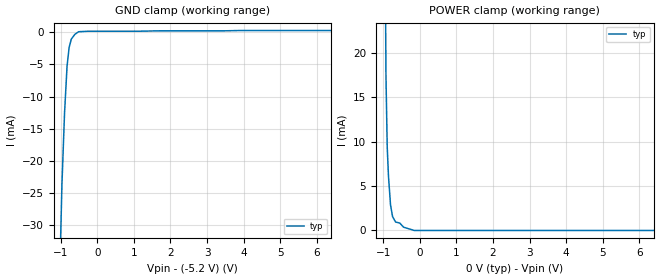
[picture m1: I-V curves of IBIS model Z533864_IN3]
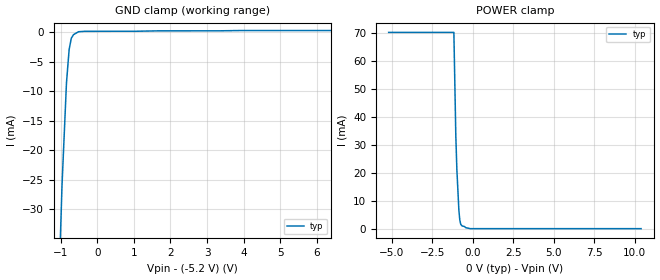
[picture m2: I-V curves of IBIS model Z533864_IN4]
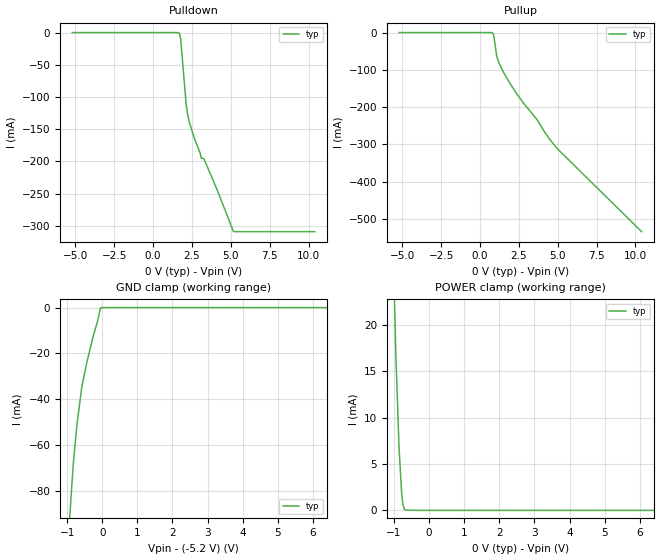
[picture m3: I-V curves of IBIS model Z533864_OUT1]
| YOU ARE ONLY AUTHORIZED TO USE THIS SOFTWARE
| ACCORDING TO LICENSOR'S LICENSE RESTRICTIONS.
[IBIS Ver] 3.1
[File Name] mc100el13dw_-52.ibs
[File Rev] 2.0
[Source] Measured and created by ICX Technology
[Date] Friday 7/14/00 9:07:48 AM
[Copyright]
| (C) COPYRIGHT 1993-2000
| MENTOR GRAPHICS CORPORATION
| ICX STANDARD LIBRARY, ICX PROJECT MODELING,
| ICX CUSTOM MODELING, ICX VENDOR MODEL
| ALL RIGHTS RESERVED.
| THE FOLLOWING ARE TRADEMARKS OR SERVICE MARKS OF
| MENTOR GRAPHICS CORPORATION:ICX (R), ICX STANDARD
| LIBRARY(R), ICX PROJECT MODELING(R), ICX CUSTOM
| MODELING(R), qualityIBIS(TM), MODELVIEWER(TM),
| AND MODELEDITOR(TM)
| ALL COPIES OF SOFTWARE, INCLUDING BUT NOT LIMITED TO
| ANY MODIFICATIONS, ENHANCEMENTS OR DERIVATIVE WORKS,
| MUST CONTAIN ALL MENTOR GRAPHICS CORPORATION'S
| NOTICES AND LEGENDS, INCLUDING THOSE EMBEDDED IN
| SOFTWARE AND THOSE AFFIXED TO SOFTWARE MEDIUM
| AND CONTAINER, AS RECEIVED FROM MENTOR GRAPHICS
| CORPORATION.
|  ZAP Model Builder 2.7
[Component] MC100EL13DW_-52
[Manufacturer] OnSemiconductor
[Package]
| variable   typ   min   max
R_pkg  .158ohms NA NA
L_pkg  3.37nH NA NA
C_pkg  .4pF NA NA
[Pin] signal_name  model_name  R_pin  L_pin C_pin
1 _Q0A Z533864_OUT1 .166 4.25n .44p
2 Q0A Z533864_OUT2 .162 3.8n .42p
3 VCC POWER .158 3.36n .4p
4 CLKA Z533864_IN3 .154 2.93n .38p
5 _CLKA Z533864_IN4 .15 2.51n .36p
6 CLKB Z533864_IN3 .15 2.51n .36p
7 _CLKB Z533864_IN4 .154 2.93n .38p
8 VCC POWER .158 3.36n .4p
9 _Q0B Z533864_OUT5 .162 3.8n .42p
10 Q0B Z533864_OUT6 .166 4.25n .44p
11 VEE GND .166 4.25n .44p
12 _Q1B Z533864_OUT5 .162 3.8n .42p
13 Q1B Z533864_OUT6 .158 3.36n .4p
14 _Q2B Z533864_OUT5 .154 2.93n .38p
15 Q2B Z533864_OUT6 .15 2.51n .36p
16 VCC POWER .15 2.51n .36p
17 _Q2A Z533864_OUT1 .154 2.93n .38p
18 Q2A Z533864_OUT2 .158 3.36n .4p
19 _Q1A Z533864_OUT1 .162 3.8n .42p
20 Q1A Z533864_OUT2 .166 4.25n .44p
| Models and submodels in the file (6): Z533864_IN3 (Input_ECL), Z533864_IN4 (Input_ECL), Z533864_OUT1 (Output_ECL), Z533864_OUT2 (Output_ECL), Z533864_OUT5 (Output_ECL), Z533864_OUT6 (Output_ECL)
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| (C) COPYRIGHT 1993-2000
| MENTOR GRAPHICS CORPORATION
| ICX STANDARD LIBRARY, ICX PROJECT MODELING,
| ICX CUSTOM MODELING, ICX VENDOR MODEL
| ALL RIGHTS RESERVED.
| THE FOLLOWING ARE TRADEMARKS OR SERVICE MARKS OF
| MENTOR GRAPHICS CORPORATION:ICX (R), ICX STANDARD
| LIBRARY(R), ICX PROJECT MODELING(R), ICX CUSTOM
| MODELING(R), qualityIBIS(TM), MODELVIEWER(TM),
| AND MODELEDITOR(TM)
| ALL COPIES OF SOFTWARE, INCLUDING BUT NOT LIMITED TO
| ANY MODIFICATIONS, ENHANCEMENTS OR DERIVATIVE WORKS,
| MUST CONTAIN ALL MENTOR GRAPHICS CORPORATION'S
| NOTICES AND LEGENDS, INCLUDING THOSE EMBEDDED IN
| SOFTWARE AND THOSE AFFIXED TO SOFTWARE MEDIUM
| AND CONTAINER, AS RECEIVED FROM MENTOR GRAPHICS
| CORPORATION.
| Model Application Version 1.89 2/18/99.
[Model] Z533864_IN3
Model_type Input_ECL
Vinl = -1.475V
Vinh = -1.165V
C_comp 4.000pF NA NA
| variable typ   min   max
[Voltage Range] -5.200V NA NA
[GND Clamp Reference] -5.200V NA NA
[POWER Clamp Reference] 0.000V NA NA
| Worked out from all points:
|   GND clamp passes 1 mA (typ) near -0.70 V on its own axis
|   POWER clamp passes 1 mA (typ) near -0.67 V on its own axis
[GND Clamp]
-5.2V     -131.4mA   NA         NA
-1.222V   -82.1mA    NA         NA
-970mV    -23.72mA   NA         NA
-899mV    -12.63mA   NA         NA
-830mV    -5.292mA   NA         NA
-773mV    -2.365mA   NA         NA
-713mV    -1.065mA   NA         NA
-615mV    -324.6uA   NA         NA
-513mV    74.95uA    NA         NA
3.914V    264.2uA    NA         NA
10.4V     264.2uA    NA         NA
[POWER Clamp]
-5.2V     837.8mA    NA         NA
-1.079V   117.1mA    NA         NA
-927.7mV  17.33mA    NA         NA
-893.7mV  9.416mA    NA         NA
-859.4mV  6.128mA    NA         NA
-803.6mV  2.884mA    NA         NA
-747.1mV  1.559mA    NA         NA
-664.1mV  952.8uA    NA         NA
-548.2mV  833.8uA    NA         NA
-448mV    375.3uA    NA         NA
-153.4mV  0A         NA         NA
10.4V     0A         NA         NA
| (C) COPYRIGHT 1993-2000
| MENTOR GRAPHICS CORPORATION
| ICX STANDARD LIBRARY, ICX PROJECT MODELING,
| ICX CUSTOM MODELING, ICX VENDOR MODEL
| ALL RIGHTS RESERVED.
| THE FOLLOWING ARE TRADEMARKS OR SERVICE MARKS OF
| MENTOR GRAPHICS CORPORATION:ICX (R), ICX STANDARD
| LIBRARY(R), ICX PROJECT MODELING(R), ICX CUSTOM
| MODELING(R), qualityIBIS(TM), MODELVIEWER(TM),
| AND MODELEDITOR(TM)
| ALL COPIES OF SOFTWARE, INCLUDING BUT NOT LIMITED TO
| ANY MODIFICATIONS, ENHANCEMENTS OR DERIVATIVE WORKS,
| MUST CONTAIN ALL MENTOR GRAPHICS CORPORATION'S
| NOTICES AND LEGENDS, INCLUDING THOSE EMBEDDED IN
| SOFTWARE AND THOSE AFFIXED TO SOFTWARE MEDIUM
| AND CONTAINER, AS RECEIVED FROM MENTOR GRAPHICS
| CORPORATION.
| Model Application Version 1.89 2/18/99.
[Model] Z533864_IN4
Model_type Input_ECL
Vinl = -1.475V
Vinh = -1.165V
C_comp 4.000pF NA NA
| variable typ   min   max
[Voltage Range] -5.200V NA NA
[GND Clamp Reference] -5.200V NA NA
[POWER Clamp Reference] 0.000V NA NA
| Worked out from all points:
|   GND clamp passes 1 mA (typ) near -0.71 V on its own axis
|   POWER clamp passes 1 mA (typ) near -0.67 V on its own axis
[GND Clamp]
-5.2V     -228.5mA   NA         NA
-1.064V   -45.14mA   NA         NA
-967mV    -25.86mA   NA         NA
-845mV    -8.513mA   NA         NA
-772mV    -2.912mA   NA         NA
-713mV    -1.035mA   NA         NA
-654mV    -426.3uA   NA         NA
-513mV    73.62uA    NA         NA
3.934V    273.5uA    NA         NA
10.4V     273.5uA    NA         NA
[POWER Clamp]
-5.2V     70.26mA    NA         NA
-1.17V    70.26mA    NA         NA
-1.05V    33.3mA     NA         NA
-985mV    21.15mA    NA         NA
-859.4mV  6.436mA    NA         NA
-803.2mV  3.045mA    NA         NA
-747.1mV  1.599mA    NA         NA
-664.1mV  959.5uA    NA         NA
-153.5mV  0A         NA         NA
10.4V     0A         NA         NA
| (C) COPYRIGHT 1993-2000
| MENTOR GRAPHICS CORPORATION
| ICX STANDARD LIBRARY, ICX PROJECT MODELING,
| ICX CUSTOM MODELING, ICX VENDOR MODEL
| ALL RIGHTS RESERVED.
| THE FOLLOWING ARE TRADEMARKS OR SERVICE MARKS OF
| MENTOR GRAPHICS CORPORATION:ICX (R), ICX STANDARD
| LIBRARY(R), ICX PROJECT MODELING(R), ICX CUSTOM
| MODELING(R), qualityIBIS(TM), MODELVIEWER(TM),
| AND MODELEDITOR(TM)
| ALL COPIES OF SOFTWARE, INCLUDING BUT NOT LIMITED TO
| ANY MODIFICATIONS, ENHANCEMENTS OR DERIVATIVE WORKS,
| MUST CONTAIN ALL MENTOR GRAPHICS CORPORATION'S
| NOTICES AND LEGENDS, INCLUDING THOSE EMBEDDED IN
| SOFTWARE AND THOSE AFFIXED TO SOFTWARE MEDIUM
| AND CONTAINER, AS RECEIVED FROM MENTOR GRAPHICS
| CORPORATION.
| Model Application Version 1.89 2/18/99.
[Model] Z533864_OUT1
Model_type Output_ECL
Vref=-2.000V
Rref=50.00ohms
Cref=0.000F
Vmeas=-1.320V
C_comp 8.000pF NA NA
| variable typ   min   max
[Voltage Range] -5.200V NA NA
[POWER Clamp Reference] 0.000V NA NA
[Pullup Reference] 0.000V NA NA
[Pulldown Reference] 0.000V NA NA
[GND Clamp Reference] -5.200V NA NA
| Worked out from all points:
|   GND clamp passes 1 mA (typ) near -0.06 V on its own axis
|   POWER clamp passes 1 mA (typ) near -0.76 V on its own axis
[GND Clamp]
-5.2V     -1.065A    NA         NA
-825mV    -68mA      NA         NA
-722mV    -51mA      NA         NA
-581mV    -34.4mA    NA         NA
-435mV    -23.6mA    NA         NA
-268mV    -13mA      NA         NA
-132mV    -5.8mA     NA         NA
-62mV     -900uA     NA         NA
-43mV     -200uA     NA         NA
-21.5mV   0A         NA         NA
10.4V     0A         NA         NA
[Pulldown]
-5.2V     230.2uA    NA         NA
1.646V    -301.8uA   NA         NA
1.704V    -1.99mA    NA         NA
1.777V    -10.37mA   NA         NA
2.124V    -110.6mA   NA         NA
2.224V    -127.4mA   NA         NA
2.35V     -140.8mA   NA         NA
3.037V    -187.8mA   NA         NA
3.101V    -195.1mA   NA         NA
3.306V    -198mA     NA         NA
5.161V    -308.5mA   NA         NA
10.4V     -309.1mA   NA         NA
[Pullup]
-5.2V     174.2uA    NA         NA
808.8mV   -1.075mA   NA         NA
897mV     -10.17mA   NA         NA
1.045V    -54.86mA   NA         NA
1.113V    -68.41mA   NA         NA
1.252V    -84.12mA   NA         NA
1.529V    -107.6mA   NA         NA
2.363V    -164.3mA   NA         NA
3.667V    -233.4mA   NA         NA
4.541V    -289.3mA   NA         NA
4.957V    -310.9mA   NA         NA
10.4V     -534.3mA   NA         NA
[POWER Clamp]
-5.2V     1.157A     NA         NA
-1.035V   29.93mA    NA         NA
-948.8mV  16.81mA    NA         NA
-859.3mV  6.923mA    NA         NA
-785.9mV  1.946mA    NA         NA
-747.2mV  639.9uA    NA         NA
-703.8mV  107.1uA    NA         NA
-665mV    25.4uA     NA         NA
10.4V     0A         NA         NA
[Ramp]
| variable typ min max
dV/dt_r 479.5m/477.1p NA NA
dV/dt_f 479.5m/956.9p NA NA
R_load = 50.00Ohms
